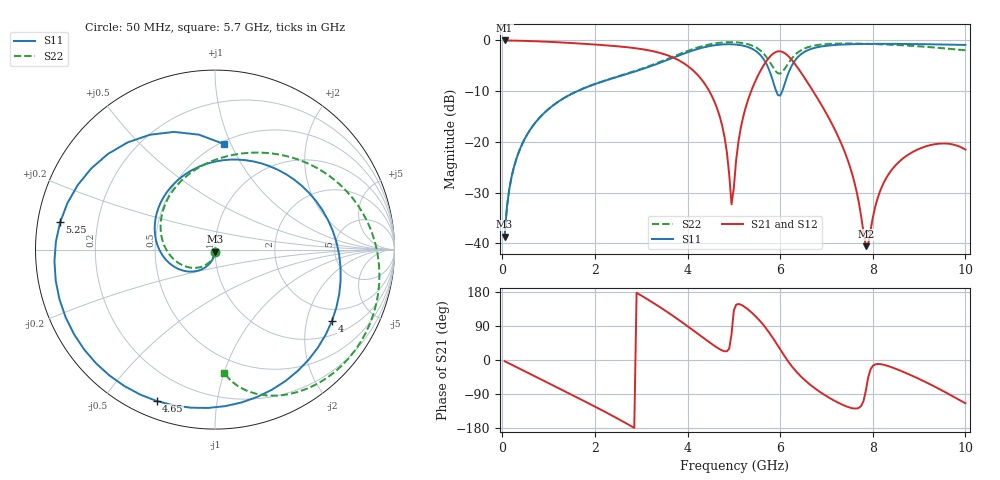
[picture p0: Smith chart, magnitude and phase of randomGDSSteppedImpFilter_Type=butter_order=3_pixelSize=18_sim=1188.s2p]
! freq	dB(S11)	phase(S11)	dB(S12)	phase(S12)
!  dB(S21)	phase(S21)	dB(S22)	phase(S22)
!S-par simulation data
#  GHz  S  DB  R 50
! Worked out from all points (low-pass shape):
!   200 points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, 50 MHz to 10 GHz, reference 50 ohm
!   highest |S21| = -0.01 dB at 50 MHz (marker M1); lowest = -40.6 dB at 7.85 GHz (marker M2)
!   |S21| within 3 dB of the highest: start of sweep to 3.589 GHz; 5.799 GHz to 6.165 GHz (365.8 MHz wide, 6.11 % of centre)
!   lowest |S11| = -38.7 dB at 50 MHz (marker M3), VSWR 1.02, Z = 50 - j1.16 ohm
!   |S11| at or under -10 dB: start of sweep to 1.62 GHz; 5.916 GHz to 6.045 GHz (129.9 MHz wide, 2.17 % of centre)
!   |S22| runs from -38.7 to -0.3 dB; largest |S21 - S12| = 0
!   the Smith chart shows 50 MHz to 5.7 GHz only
!   S11 on the Smith chart (normalised r, x): 50 MHz: 1.00, -0.02; 4 GHz: 1.48, -2.84; 4.65 GHz: 0.07, -0.68; 5.25 GHz: 0.07, +0.09; 5.7 GHz: 0.52, +0.94
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0.05  -38.69 -91.1  -0.01 -3.1  -0.01 -3.1  -38.70 -91.7
0.2  -26.91 -101.1  -0.03 -12.3  -0.03 -12.3  -26.92 -103.7
0.5  -19.14 -118.1  -0.10 -30.7  -0.10 -30.7  -19.15 -124.4
1.75  -9.48 169.7  -0.66 -107.3  -0.66 -107.3  -9.47 154.2
2.65  -6.73 106.1  -1.30 -165.3  -1.30 -165.3  -6.65 101.5
3.4  -4.43 36.3  -2.45 139.9  -2.45 139.9  -4.26 61.4
4  -2.34 -31.6  -5.01 89.2  -5.01 89.2  -2.07 26.9
4.65  -0.88 -111.1  -13.71 31.9  -13.71 31.9  -0.52 -15.5
4.95  -0.76 -149.1  -32.31 67.9  -32.31 67.9  -0.34 -35.7
5.05  -0.82 -162.2  -23.54 145.9  -23.54 145.9  -0.38 -42.4
5.25  -1.15 170.0  -13.40 138.6  -13.40 138.6  -0.62 -56.1
5.7  -4.57 85.3  -4.12 83.0  -4.12 83.0  -3.22 -85.7
5.9  -9.65 10.4  -2.31 47.3  -2.31 47.3  -6.05 -84.5
6.1  -8.50 -109.1  -2.52 9.1  -2.52 9.1  -5.57 -66.4
6.35  -3.62 177.2  -5.02 -30.8  -5.02 -30.8  -2.61 -71.4
6.7  -1.59 119.6  -9.84 -70.2  -9.84 -70.2  -1.09 -91.6
7.15  -0.92 67.8  -17.01 -106.0  -17.01 -106.0  -0.65 -115.4
7.6  -0.73 26.7  -27.85 -128.1  -27.85 -128.1  -0.62 -137.6
7.85  -0.69 7.0  -40.56 -81.2  -40.56 -81.2  -0.67 -150.1
8.35  -0.68 -27.1  -26.26 -16.7  -26.26 -16.7  -0.83 -177.2
9.4  -0.79 -83.0  -20.38 -74.2  -20.38 -74.2  -1.45 102.3
10  -0.89 -109.2  -21.52 -114.2  -21.52 -114.2  -1.94 26.8
